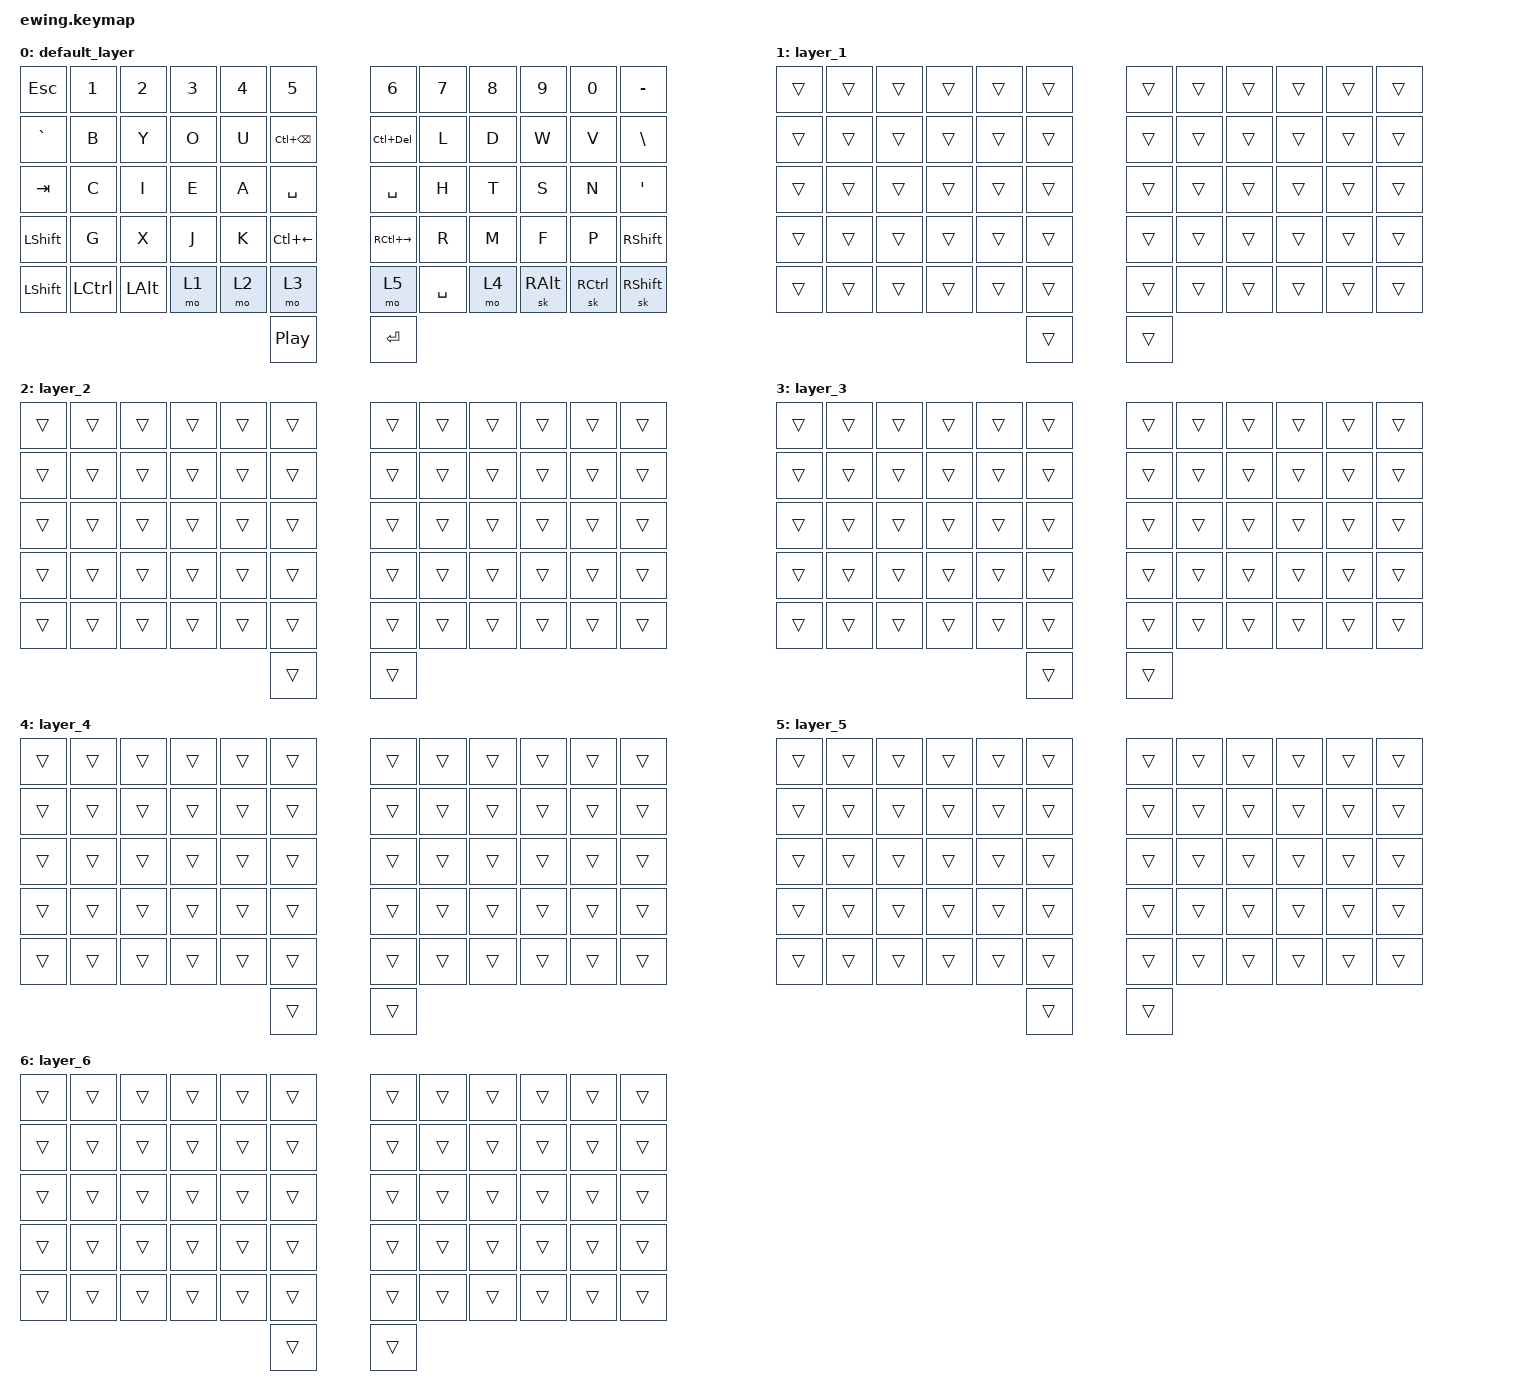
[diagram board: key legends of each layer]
/*
 * Copyright (c) 2020 The ZMK Contributors
 *
 * SPDX-License-Identifier: MIT
 */

#include <behaviors.dtsi>
#include <dt-bindings/zmk/keys.h>

/ {
    combos {
        compatible = "zmk,combos";

        bkslsh {
            bindings = <&kp BACKSLASH>;
            key-positions = <22 21>;
        };

        RBrkt {
            bindings = <&kp RIGHT_BRACKET>;
            key-positions = <21 20>;
        };

        LBrkt {
            bindings = <&kp LEFT_BRACKET>;
            key-positions = <19 20>;
        };

        Enter {
            bindings = <&kp ENTER>;
            key-positions = <34 33>;
        };

        Quotes {
            bindings = <&kp SINGLE_QUOTE>;
            key-positions = <33 32>;
        };

        Colons {
            bindings = <&kp SEMI>;
            key-positions = <32 31>;
        };

        Slash {
            bindings = <&kp SLASH>;
            key-positions = <58 57>;
        };

        Period {
            bindings = <&kp PERIOD>;
            key-positions = <45 44>;
        };

        Comma {
            bindings = <&kp COMMA>;
            key-positions = <44 43>;
        };

        CAPSWORD {
            bindings = <&caps_word>;
            key-positions = <47 36>;
        };
    };

    keymap {
        compatible = "zmk,keymap";

        default_layer {
            // ------------------------------------------------------------------------------------------------------------
            // |  ESC  |  1  |  2  |  3   |  4   |  5   |                   |  6   |  7    |  8    |  9   |   0   |   -   |
            // |  TAB  |  Q  |  W  |  E   |  R   |  T   |                   |  Y   |  U    |  I    |  O   |   P   |   \   |
            // |  CTRL |  A  |  S  |  D   |  F   |  G   |                   |  H   |  J    |  K    |  L   |   ;   |   '   |
            // | SHIFT |  Z  |  X  |  C   |  V   |  B   |                   |  N   |  M    |  ,    |  .   |   /   | SHIFT |
            // | LCTL  | LGUI  | LALT |  GRAV |  | EQL | DEL | BKSP|  | RET | SPC  | LBKT |  RBKT  | LBKT | HOME  |   END |

            bindings = <
&kp ESC         &kp N1            &kp N2    &kp N3  &kp N4  &kp N5               &kp N6         &kp N7     &kp N8  &kp N9    &kp N0             &kp MINUS
&kp GRAVE       &kp B             &kp Y     &kp O   &kp U   &kp LC(BACKSPACE)    &kp LC(DEL)    &kp L      &kp D   &kp W     &kp V              &kp BSLH
&kp TAB         &kp C             &kp I     &kp E   &kp A   &kp SPACE            &kp SPACE      &kp H      &kp T   &kp S     &kp N              &kp SQT
&kp LSHFT       &kp G             &kp X     &kp J   &kp K   &kp LC(LEFT)         &kp RC(RIGHT)  &kp R      &kp M   &kp F     &kp P              &kp RSHFT
&kp LEFT_SHIFT  &kp LEFT_CONTROL  &kp LALT  &mo 1   &mo 2   &mo 3                &mo 5          &kp SPACE  &mo 4   &sk RALT  &sk RIGHT_CONTROL  &sk RIGHT_SHIFT
                                                            &kp C_PLAY_PAUSE     &kp RET
            >;
        };

        layer_1 {
            bindings = <
&trans  &trans  &trans  &trans  &trans  &trans    &trans  &trans  &trans  &trans  &trans  &trans
&trans  &trans  &trans  &trans  &trans  &trans    &trans  &trans  &trans  &trans  &trans  &trans
&trans  &trans  &trans  &trans  &trans  &trans    &trans  &trans  &trans  &trans  &trans  &trans
&trans  &trans  &trans  &trans  &trans  &trans    &trans  &trans  &trans  &trans  &trans  &trans
&trans  &trans  &trans  &trans  &trans  &trans    &trans  &trans  &trans  &trans  &trans  &trans
                                        &trans    &trans
            >;
        };

        layer_2 {
            bindings = <
&trans  &trans  &trans  &trans  &trans  &trans    &trans  &trans  &trans  &trans  &trans  &trans
&trans  &trans  &trans  &trans  &trans  &trans    &trans  &trans  &trans  &trans  &trans  &trans
&trans  &trans  &trans  &trans  &trans  &trans    &trans  &trans  &trans  &trans  &trans  &trans
&trans  &trans  &trans  &trans  &trans  &trans    &trans  &trans  &trans  &trans  &trans  &trans
&trans  &trans  &trans  &trans  &trans  &trans    &trans  &trans  &trans  &trans  &trans  &trans
                                        &trans    &trans
            >;
        };

        layer_3 {
            bindings = <
&trans  &trans  &trans  &trans  &trans  &trans    &trans  &trans  &trans  &trans  &trans  &trans
&trans  &trans  &trans  &trans  &trans  &trans    &trans  &trans  &trans  &trans  &trans  &trans
&trans  &trans  &trans  &trans  &trans  &trans    &trans  &trans  &trans  &trans  &trans  &trans
&trans  &trans  &trans  &trans  &trans  &trans    &trans  &trans  &trans  &trans  &trans  &trans
&trans  &trans  &trans  &trans  &trans  &trans    &trans  &trans  &trans  &trans  &trans  &trans
                                        &trans    &trans
            >;
        };

        layer_4 {
            bindings = <
&trans  &trans  &trans  &trans  &trans  &trans    &trans  &trans  &trans  &trans  &trans  &trans
&trans  &trans  &trans  &trans  &trans  &trans    &trans  &trans  &trans  &trans  &trans  &trans
&trans  &trans  &trans  &trans  &trans  &trans    &trans  &trans  &trans  &trans  &trans  &trans
&trans  &trans  &trans  &trans  &trans  &trans    &trans  &trans  &trans  &trans  &trans  &trans
&trans  &trans  &trans  &trans  &trans  &trans    &trans  &trans  &trans  &trans  &trans  &trans
                                        &trans    &trans
            >;
        };

        layer_5 {
            bindings = <
&trans  &trans  &trans  &trans  &trans  &trans    &trans  &trans  &trans  &trans  &trans  &trans
&trans  &trans  &trans  &trans  &trans  &trans    &trans  &trans  &trans  &trans  &trans  &trans
&trans  &trans  &trans  &trans  &trans  &trans    &trans  &trans  &trans  &trans  &trans  &trans
&trans  &trans  &trans  &trans  &trans  &trans    &trans  &trans  &trans  &trans  &trans  &trans
&trans  &trans  &trans  &trans  &trans  &trans    &trans  &trans  &trans  &trans  &trans  &trans
                                        &trans    &trans
            >;
        };

        layer_6 {
            bindings = <
&trans  &trans  &trans  &trans  &trans  &trans    &trans  &trans  &trans  &trans  &trans  &trans
&trans  &trans  &trans  &trans  &trans  &trans    &trans  &trans  &trans  &trans  &trans  &trans
&trans  &trans  &trans  &trans  &trans  &trans    &trans  &trans  &trans  &trans  &trans  &trans
&trans  &trans  &trans  &trans  &trans  &trans    &trans  &trans  &trans  &trans  &trans  &trans
&trans  &trans  &trans  &trans  &trans  &trans    &trans  &trans  &trans  &trans  &trans  &trans
                                        &trans    &trans
            >;
        };
    };
};

